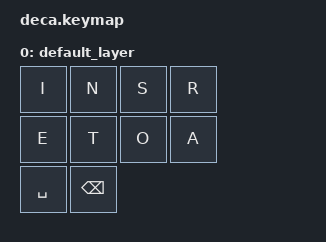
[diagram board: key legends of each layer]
#include <behaviors.dtsi>
#include <dt-bindings/zmk/keys.h>

// Defining position
#define TI 0        // TI = Top Index
#define TM 1        // TM = Top Middle
#define TR 2        // TR = Top Ring
#define TP 3        // TP = Top Pinky
#define BI 4        // LI = Low Index
#define BM 5        // LM = Low Middle
#define BR 6        // TR = Low Ring
#define BP 7        // LP = Low Pinky
#define OT 8        // OT = Outer Thumb
#define IT 8        // TI = Inner Thumb

// BEHAVIOR
// ====================================================

/{
	behaviors {
		// Enables holding the first mod-tap key
		// by performing a tap-release-hold sequence.
		// To use it: "&qt KEYCODE1 KEYCODE2"
		qt: quick_tap {
			compatible = "zmk,behavior-hold-tap";
			label = "QUICK_TAP";
			#binding-cells = <2>;
			flavor = "hold-preferred";
			tapping-term-ms = <200>;
			quick-tap-ms = <200>;
			bindings = <&kp>, <&kp>;
		};
	};


// COMBOS
// ====================================================
/*
	.-----------------------------------------------------------.
	|  0  |  1  |  2  |  3  |           |  4  |  5  |  6  |  7  |
	|  8  |  9  |  10 |  11 |           |  12 |  13 |  14 |  15 |
	|  16 |-----|  17 |  18 |           |  19 |  20 |-----|  21 |
	'-----'     '-----------------------------------'     '-----'
*/
// TAIPO COMBOS

	#define COMBO(NAME, BINDINGS, KEYPOS) \
	combo_##NAME { \
		timeout-ms = <50>; \
		bindings = <BINDINGS>; \
		key-positions = <KEYPOS>; \
	};

    combos {
        compatible = "zmk,combos";
		COMBO(2,&kp LS(E),BI OT)
		COMBO(4,&kp LS(T),BM OT)
		COMBO(6,&kp LS(O),BR OT)
		COMBO(8,&kp LS(A),BP OT)
		COMBO(10,&kp LPAR,BI IT)
		COMBO(12,&kp LBKT,BM IT)
		COMBO(14,&kp LBRC,BR IT)
		COMBO(16,&kp LT,BP IT)
		COMBO(18,&kp LS(I),OT TI)
		COMBO(20,&kp LS(N),OT TM)
		COMBO(22,&kp LS(S),OT TR)
		COMBO(24,&kp LS(R),OT TP)
		COMBO(26,&kp RPAR,IT TI)
		COMBO(28,&kp RBKT,IT TM)
		COMBO(30,&kp RBRC,IT TR)
		COMBO(32,&kp GT,IT TP)
		COMBO(34,&kp H,BI BM)
		COMBO(36,&kp L,BP BR)
		COMBO(38,&kp Y,TI TM)
		COMBO(40,&kp B,TP TR)
		COMBO(42,&kp LS(H),BI BM OT)
		COMBO(44,&kp LS(L),BP BR OT)
		COMBO(46,&kp LS(Y),OT TI TM)
		COMBO(48,&kp LS(B),OT TP TR)
		COMBO(50,&kp N0,BI BM IT)
		COMBO(52,&kp N4,BP BR IT)
		COMBO(54,&kp N5,IT TI TM)
		COMBO(56,&kp N9,IT TP TR)
		COMBO(58,&kp G,TI TP)
		COMBO(60,&kp U,BM BR)
		COMBO(62,&kp D,BI BP)
		COMBO(64,&kp P,TM TR)
		COMBO(66,&kp LS(G),OT TI TP)
		COMBO(68,&kp LS(U),BM BR OT)
		COMBO(70,&kp LS(D),BI BP OT)
		COMBO(72,&kp LS(P),OT TM TR)
		COMBO(74,&kp HASH,IT TI TP)
		COMBO(76,&kp N2,BM BR IT)
		COMBO(78,&kp AT,BI BP IT)
		COMBO(80,&kp N7,IT TM TR)
		COMBO(82,&kp C,BI BR)
		COMBO(84,&kp Q,BM BP)
		COMBO(86,&kp F,TI TR)
		COMBO(88,&kp Z,TM TP)
		COMBO(90,&kp LS(C),BI BR OT)
		COMBO(92,&kp LS(Q),BM BP OT)
		COMBO(94,&kp LS(F),OT TI TR)
		COMBO(96,&kp LS(Z),OT TM TP)
		COMBO(98,&kp N1,BI BR IT)
		COMBO(100,&kp N3,BM BP IT)
		COMBO(102,&kp N6,IT TI TR)
		COMBO(104,&kp N8,IT TM TP)
		COMBO(106,&kp V,BI TR)
		COMBO(108,&kp X,BM TP)
		COMBO(110,&kp K,BR TI)
		COMBO(112,&kp J,BP TM)
		COMBO(114,&kp LS(V),BI OT TR)
		COMBO(116,&kp LS(X),BM OT TP)
		COMBO(118,&kp LS(K),BR OT TI)
		COMBO(120,&kp LS(J),BP OT TM)
		COMBO(122,&kp STAR,BI IT TR)
		COMBO(124,&kp CARET,BM IT TP)
		COMBO(126,&kp PLUS,BR IT TI)
		COMBO(128,&kp EQUAL,BP IT TM)
		COMBO(130,&kp MINUS,BR TM)
		COMBO(132,&kp W,BP TI)
		COMBO(134,&kp M,BI TP)
		COMBO(136,&kp FSLH,BM TR)
		COMBO(138,&kp UNDER,BR OT TM)
		COMBO(140,&kp LS(W),BP OT TI)
		COMBO(142,&kp LS(M),BI OT TP)
		COMBO(144,&kp BSLH,BM OT TR)
		COMBO(146,&kp PRCNT,BR IT TM)
		COMBO(148,&kp AMPS,BP IT TI)
		COMBO(150,&kp DLLR,BI IT TP)
		COMBO(152,&kp PIPE,BM IT TR)
		COMBO(154,&kp SQT,BP TR)
		COMBO(156,&kp SEMI,BR TP)
		COMBO(158,&kp QMARK,BM TI)
		COMBO(160,&kp COMMA,BI TM)
		COMBO(162,&kp DQT,BP OT TR)
		COMBO(164,&kp COLON,BR OT TP)
		COMBO(166,&kp EXCL,BM OT TI)
		COMBO(168,&kp DOT,BI OT TM)
		COMBO(170,&kp GRAVE,BP IT TR)
		COMBO(172,&kp TILDE,BI IT TM)
		COMBO(174,&sk LEFT_CONTROL,BP TP)
		COMBO(176,&sk LEFT_ALT,BR TR)
		COMBO(178,&sk LEFT_GUI,BM TM)
		COMBO(180,&sk LEFT_SHIFT,BI TI)
		COMBO(182,&kp RIGHT,BP TP OT)
		COMBO(184,&kp UP,BR TR OT)
		COMBO(186,&kp DOWN,BM TM OT)
		COMBO(188,&kp LEFT,BI TI OT)
		COMBO(190,&kp PG_UP,BP TP IT)
		COMBO(192,&kp HOME,BR TR IT)
		COMBO(194,&kp END,BM TM IT)
		COMBO(196,&kp PG_DN,BI TI IT)
		COMBO(198,&kp ENTER,BI BM BR)
		COMBO(200,&kp TAB,TI TM TR)
		COMBO(202,&kp ESC,BI BM BR OT)
		COMBO(204,&kp DEL,TI TM TR OT)
		COMBO(206,&sk RALT,BI BM BR IT)
    };

    keymap {
        compatible = "zmk,keymap";

        default_layer {
            bindings = <
                    &kp I       &kp N       &kp S       &kp R
                    &kp E       &kp T       &kp O       &kp A
                &kp SPACE   &kp BKSP
            >;
        };
    };
};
